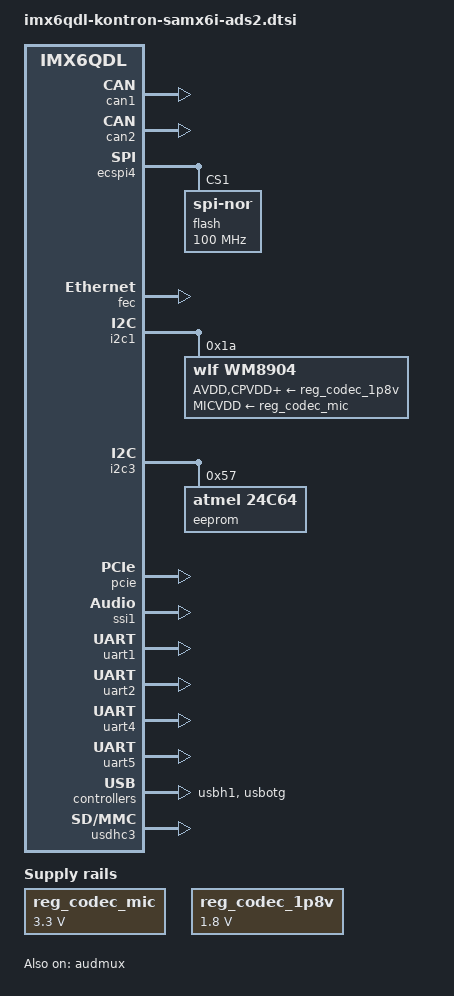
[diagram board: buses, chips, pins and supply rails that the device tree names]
// SPDX-License-Identifier: (GPL-2.0+ OR MIT)
/*
 * Device Tree include for the Kontron SMARC-sAMX6i board on a SMARC Eval
 * 2.0 carrier (ADS2).
 *
 */

/ {
	chosen {
		stdout-path = "serial0:115200n8";
	};

	sound {
		#address-cells = <1>;
		#size-cells = <0>;
		compatible = "simple-audio-card";
		simple-audio-card,format = "i2s";
		simple-audio-card,bitclock-master = <&dailink_master>;
		simple-audio-card,frame-master = <&dailink_master>;
		simple-audio-card,widgets =
			"Headphone", "Headphone Jack",
			"Line", "Line Out Jack",
			"Microphone", "Microphone Jack",
			"Line", "Line In Jack";
		simple-audio-card,routing =
			"Line Out Jack", "LINEOUTR",
			"Line Out Jack", "LINEOUTL",
			"Headphone Jack", "HPOUTR",
			"Headphone Jack", "HPOUTL",
			"IN1L", "Line In Jack",
			"IN1R", "Line In Jack",
			"Microphone Jack", "MICBIAS",
			"IN2L", "Microphone Jack",
			"IN2R", "Microphone Jack";

		simple-audio-card,cpu {
			sound-dai = <&ssi1>;
		};

		dailink_master: simple-audio-card,codec {
			sound-dai = <&wm8904>;
		};
	};

	reg_codec_mic: regulator-codec-mic {
		compatible = "regulator-fixed";
		regulator-name = "V_3V3_MIC";
		regulator-min-microvolt = <3300000>;
		regulator-max-microvolt = <3300000>;
		regulator-always-on;
		regulator-boot-on;
	};

	reg_codec_1p8v: regulator-codec-1p8v {
		compatible = "regulator-fixed";
		regulator-name = "V_1V8_S0_CODEC";
		regulator-min-microvolt = <1800000>;
		regulator-max-microvolt = <1800000>;
		regulator-always-on;
		regulator-boot-on;
	};
};

&audmux {
	status = "okay";
};

&can1 {
	status = "okay";
};

&can2 {
	status = "okay";
};

&ecspi4 {
	flash@1 {
		compatible = "jedec,spi-nor";
		reg = <1>;
		spi-max-frequency = <100000000>;
		m25p,fast-read;
	};
};

&fec {
	status = "okay";
};

&i2c1 {
	status = "okay";

	wm8904: audio-codec@1a {
		compatible = "wlf,wm8904";
		reg = <0x1a>;
		#sound-dai-cells = <0>;
		clocks = <&clks IMX6QDL_CLK_CKO2>;
		clock-names = "mclk";
		AVDD-supply = <&reg_codec_1p8v>;
		CPVDD-supply = <&reg_codec_1p8v>;
		DBVDD-supply = <&reg_codec_1p8v>;
		DCVDD-supply = <&reg_codec_1p8v>;
		MICVDD-supply = <&reg_codec_mic>;
	};
};

&i2c3 {
	eeprom@57 {
		compatible = "atmel,24c64";
		reg = <0x57>;
		pagesize = <32>;
	};
};

&pcie {
	status = "okay";
};

&ssi1 {
	status = "okay";
};

&uart1 {
	status = "okay";
};

&uart2 {
	status = "okay";
};

&uart4 {
	status = "okay";
};

&uart5 {
	status = "okay";
};

&usbh1 {
	status = "okay";
};

&usbotg {
	status = "okay";
};

&usdhc3 {
	status = "okay";
};
